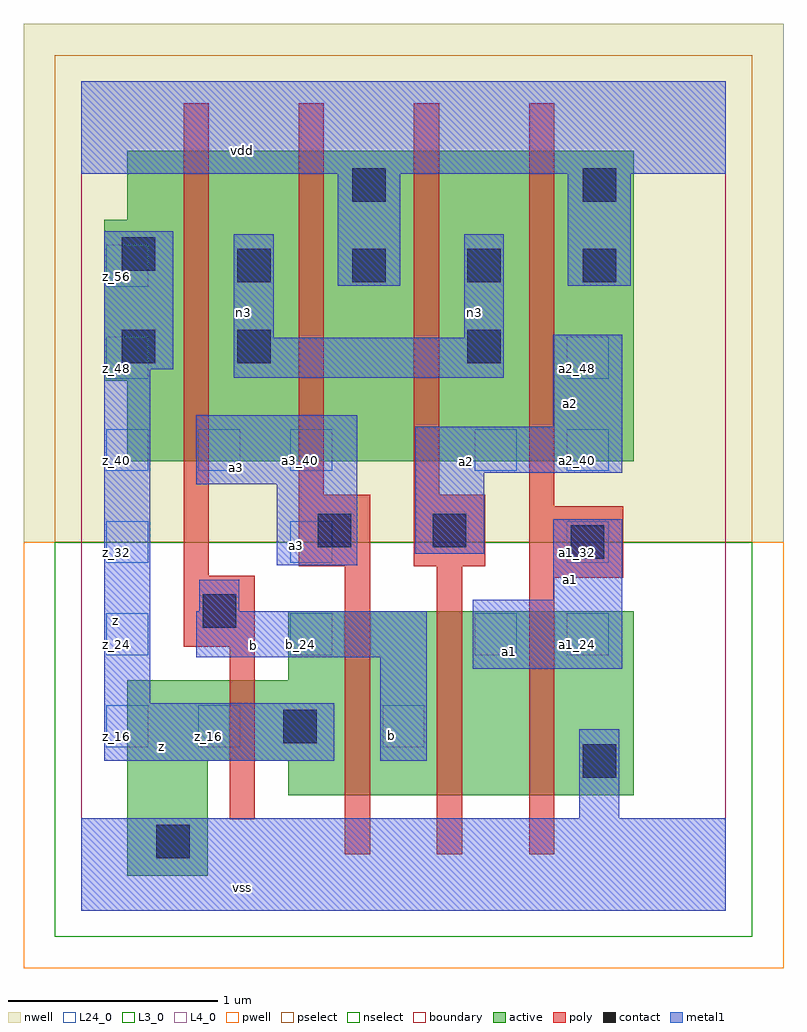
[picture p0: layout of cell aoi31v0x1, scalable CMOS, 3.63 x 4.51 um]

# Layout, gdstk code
import gdstk
lib = gdstk.Library(unit=1e-6, precision=2.5e-09)
def R(c, l, rs):  # rectangles x0, y0, x1, y1
    for r in rs: c.add(gdstk.rectangle(r[:2], r[2:], *l))
def A(c, l, x, y, w, h, nx, ny, dx, dy):  # array of equal rectangles
    R(c, l, [(x+i*dx, y+j*dy, x+i*dx+w, y+j*dy+h) for i in range(nx) for j in range(ny)])
L3_0 = (3, 0)
L4_0 = (4, 0)
L24_0 = (24, 0)
contact = (25, 0)
pwell = (41, 0)
nwell = (42, 0)
active = (43, 0)
pselect = (44, 0)
nselect = (45, 0)
poly = (46, 0)
metal1 = (49, 0)
boundary = (63, 0)

aoi31v0x1 = lib.new_cell('aoi31v0x1')
R(aoi31v0x1, L3_0, [(0.22,0.165,0.605,0.715), (0.99,0.55,2.64,0.715), (0.22,0.715,2.64,1.1), (0.99,1.1,2.64,1.43)])
R(aoi31v0x1, L4_0, [(0.22,2.145,2.64,2.53), (0.11,2.53,2.64,3.3), (0.22,3.3,2.64,3.63)])
A(aoi31v0x1, L24_0, 0.12, 0.78, 0.2, 0.2, 1, 3, 0, 0.88)
A(aoi31v0x1, L24_0, 0.12, 1.22, 0.2, 0.2, 3, 1, 0.88, 0)
A(aoi31v0x1, L24_0, 2.32, 1.22, 0.2, 0.2, 1, 4, 0, 0.44)
A(aoi31v0x1, L24_0, 0.12, 2.1, 0.2, 0.2, 3, 1, 0.44, 0)
R(aoi31v0x1, L24_0, [(0.56,0.78,0.76,0.98), (1.44,0.78,1.64,0.98), (1,1.66,1.2,1.86), (1.88,2.1,2.08,2.3), (0.12,2.98,0.32,3.18)])
A(aoi31v0x1, contact, 0.745, 3, 0.16, 0.16, 4, 1, 0.55, 0)
R(aoi31v0x1, contact, [(0.36,0.25,0.52,0.41), (2.395,0.635,2.555,0.795), (0.965,0.8,1.125,0.96), (0.58,1.35,0.74,1.51), (2.34,1.68,2.5,1.84), (1.13,1.735,1.29,1.895), (1.68,1.735,1.84,1.895), (0.195,2.615,0.355,2.775), (0.745,2.615,0.905,2.775), (1.845,2.615,2.005,2.775), (0.195,3.055,0.355,3.215), (1.295,3.385,1.455,3.545), (2.395,3.385,2.555,3.545)])
R(aoi31v0x1, pwell, [(-0.275,-0.275,3.355,1.76)])
R(aoi31v0x1, nwell, [(-0.275,1.76,3.355,4.235)])
R(aoi31v0x1, active, [(0.22,0.165,0.605,0.715), (0.99,0.55,2.64,0.715), (0.22,0.715,2.64,1.1), (0.99,1.1,2.64,1.43), (0.22,2.145,2.64,2.53), (0.11,2.53,2.64,3.3), (0.22,3.3,2.64,3.63)])
R(aoi31v0x1, pselect, [(-0.125,1.76,3.205,4.085)])
R(aoi31v0x1, nselect, [(-0.125,-0.125,3.205,1.76)])
R(aoi31v0x1, poly, [(1.26,0.27,1.38,1.645), (1.7,0.27,1.82,1.645), (2.14,0.27,2.26,1.59), (0.71,0.435,0.83,1.26), (0.49,1.26,0.83,1.6), (2.14,1.59,2.59,1.93), (0.49,1.6,0.61,3.855), (1.04,1.645,1.38,1.985), (1.59,1.645,1.93,1.985), (2.14,1.93,2.26,3.855), (1.04,1.985,1.16,3.855), (1.59,1.985,1.71,3.855)])
R(aoi31v0x1, metal1, [(0,0,3.08,0.44), (2.38,0.44,2.57,0.865), (0.11,0.715,1.21,0.99), (1.43,0.715,1.65,1.21), (0.11,0.99,0.33,2.585), (1.87,1.155,2.585,1.485), (0.55,1.21,1.65,1.43), (0.565,1.43,0.755,1.58), (2.255,1.485,2.585,1.87), (0.935,1.65,1.32,2.035), (1.595,1.705,1.925,2.09), (0.55,2.035,1.32,2.365), (1.595,2.09,2.585,2.31), (2.255,2.31,2.585,2.75), (0.73,2.545,2.02,2.735), (0.11,2.585,0.44,3.245), (0.73,2.735,0.92,3.23), (1.83,2.735,2.02,3.23), (1.225,2.985,1.525,3.52), (2.325,2.985,2.625,3.52), (0,3.52,3.08,3.96)])
R(aoi31v0x1, boundary, [(0,0,3.08,3.96)])
aoi31v0x1.add(gdstk.Label('vss', (0.77,0.11), layer=49, texttype=0))
aoi31v0x1.add(gdstk.Label('a1', (2.0475,1.2375), layer=49, texttype=0))
aoi31v0x1.add(gdstk.Label('b', (1.485,0.8375), layer=49, texttype=0))
aoi31v0x1.add(gdstk.Label('z', (0.385,0.7825), layer=49, texttype=0))
aoi31v0x1.add(gdstk.Label('b', (0.825,1.265), layer=49, texttype=0))
aoi31v0x1.add(gdstk.Label('a1', (2.3375,1.58), layer=49, texttype=0))
aoi31v0x1.add(gdstk.Label('a2', (1.8425,2.145), layer=49, texttype=0))
aoi31v0x1.add(gdstk.Label('a3', (1.03,1.745), layer=49, texttype=0))
aoi31v0x1.add(gdstk.Label('a2', (2.3375,2.42), layer=49, texttype=0))
aoi31v0x1.add(gdstk.Label('a3', (0.7425,2.1175), layer=49, texttype=0))
aoi31v0x1.add(gdstk.Label('z', (0.165,1.3875), layer=49, texttype=0))
aoi31v0x1.add(gdstk.Label('n3', (1.8775,2.8575), layer=49, texttype=0))
aoi31v0x1.add(gdstk.Label('n3', (0.7775,2.8575), layer=49, texttype=0))
aoi31v0x1.add(gdstk.Label('vdd', (0.77,3.63), layer=49, texttype=0))
aoi31v0x1.add(gdstk.Label('z_16', (0.61,0.83), layer=24, texttype=0))
aoi31v0x1.add(gdstk.Label('a3_40', (0.61,2.15), layer=24, texttype=0))
aoi31v0x1.add(gdstk.Label('b_24', (1.05,1.27), layer=24, texttype=0))
aoi31v0x1.add(gdstk.Label('a3_32', (1.05,1.71), layer=24, texttype=0))
aoi31v0x1.add(gdstk.Label('a3_40', (1.05,2.15), layer=24, texttype=0))
aoi31v0x1.add(gdstk.Label('b_16', (1.49,0.83), layer=24, texttype=0))
aoi31v0x1.add(gdstk.Label('a1_24', (1.93,1.27), layer=24, texttype=0))
aoi31v0x1.add(gdstk.Label('a2_40', (1.93,2.15), layer=24, texttype=0))
aoi31v0x1.add(gdstk.Label('z_16', (0.17,0.83), layer=24, texttype=0))
aoi31v0x1.add(gdstk.Label('z_24', (0.17,1.27), layer=24, texttype=0))
aoi31v0x1.add(gdstk.Label('z_32', (0.17,1.71), layer=24, texttype=0))
aoi31v0x1.add(gdstk.Label('z_40', (0.17,2.15), layer=24, texttype=0))
aoi31v0x1.add(gdstk.Label('z_48', (0.17,2.59), layer=24, texttype=0))
aoi31v0x1.add(gdstk.Label('z_56', (0.17,3.03), layer=24, texttype=0))
aoi31v0x1.add(gdstk.Label('a1_24', (2.37,1.27), layer=24, texttype=0))
aoi31v0x1.add(gdstk.Label('a1_32', (2.37,1.71), layer=24, texttype=0))
aoi31v0x1.add(gdstk.Label('a2_40', (2.37,2.15), layer=24, texttype=0))
aoi31v0x1.add(gdstk.Label('a2_48', (2.37,2.59), layer=24, texttype=0))

lib.write_gds('aoi31v0x1.gds')
